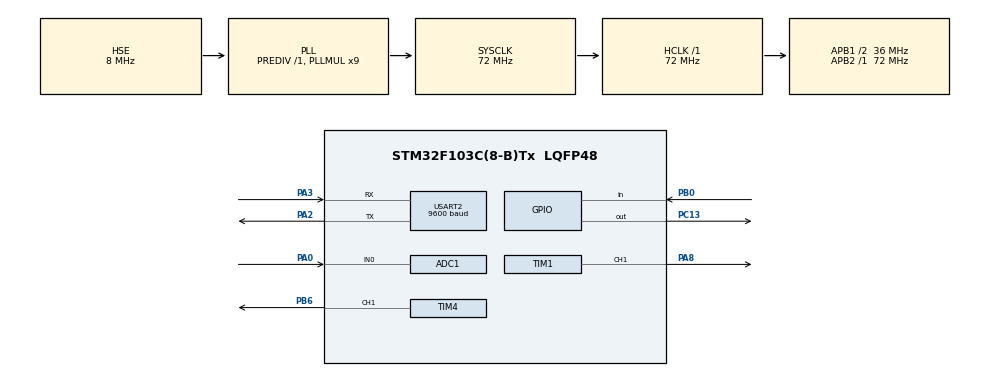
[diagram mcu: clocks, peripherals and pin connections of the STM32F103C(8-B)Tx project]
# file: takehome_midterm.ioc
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ADC1.Channel-0\#ChannelRegularConversion=ADC_CHANNEL_0
ADC1.ExternalTrigConv=ADC_EXTERNALTRIGCONV_T3_TRGO
ADC1.NbrOfConversionFlag=1
ADC1.Rank-0\#ChannelRegularConversion=1
ADC1.SamplingTime-0\#ChannelRegularConversion=ADC_SAMPLETIME_1CYCLE_5
ADC1.master=1
Dma.ADC1.0.Direction=DMA_PERIPH_TO_MEMORY
Dma.ADC1.0.Instance=DMA1_Channel1
Dma.ADC1.0.MemDataAlignment=DMA_MDATAALIGN_HALFWORD
Dma.ADC1.0.MemInc=DMA_MINC_ENABLE
Dma.ADC1.0.Mode=DMA_CIRCULAR
Dma.ADC1.0.PeriphDataAlignment=DMA_PDATAALIGN_HALFWORD
Dma.ADC1.0.PeriphInc=DMA_PINC_DISABLE
Dma.ADC1.0.Priority=DMA_PRIORITY_MEDIUM
Dma.Request0=ADC1
Mcu.Family=STM32F1
Mcu.Name=STM32F103C(8-B)Tx
Mcu.Package=LQFP48
NVIC.DMA1_Channel1_IRQn=true\:0\:0\:false\:false\:true\:false\:true\:true
NVIC.PriorityGroup=NVIC_PRIORITYGROUP_4
NVIC.TIM2_IRQn=true\:0\:0\:false\:false\:true\:true\:true\:true
NVIC.USART2_IRQn=true\:0\:0\:false\:false\:true\:true\:true\:true
PA0-WKUP.Signal=ADCx_IN0
PA13.Mode=Serial_Wire
PA13.Signal=SYS_JTMS-SWDIO
PA14.Mode=Serial_Wire
PA14.Signal=SYS_JTCK-SWCLK
PA2.Mode=Asynchronous
PA2.Signal=USART2_TX
PA3.Mode=Asynchronous
PA3.Signal=USART2_RX
PA8.Signal=S_TIM1_CH1
PB0.GPIO_Mode=GPIO_MODE_INPUT
PB0.GPIO_PuPd=GPIO_PULLUP
PB0.Signal=GPIO_Input
PB6.Signal=S_TIM4_CH1
PC13-TAMPER-RTC.GPIO_ModeDefaultOutputPP=GPIO_MODE_OUTPUT_PP
PC13-TAMPER-RTC.Signal=GPIO_Output
PD0-OSC_IN.Mode=HSE-External-Oscillator
PD0-OSC_IN.Signal=RCC_OSC_IN
PD1-OSC_OUT.Mode=HSE-External-Oscillator
PD1-OSC_OUT.Signal=RCC_OSC_OUT
ProjectManager.HeapSize=0x200
ProjectManager.StackSize=0x400
ProjectManager.TargetToolchain=STM32CubeIDE
RCC.ADCPresc=RCC_ADCPCLK2_DIV6
RCC.AHBFreq_Value=72000000
RCC.APB1CLKDivider=RCC_HCLK_DIV2
RCC.APB1Freq_Value=36000000
RCC.APB1TimFreq_Value=72000000
RCC.APB2Freq_Value=72000000
RCC.APB2TimFreq_Value=72000000
RCC.HCLKFreq_Value=72000000
RCC.PLLMUL=RCC_PLL_MUL9
RCC.PLLSourceVirtual=RCC_PLLSOURCE_HSE
RCC.SYSCLKFreq_VALUE=72000000
RCC.SYSCLKSource=RCC_SYSCLKSOURCE_PLLCLK
RCC.USBFreq_Value=72000000
SH.ADCx_IN0.0=ADC1_IN0,IN0
SH.S_TIM1_CH1.0=TIM1_CH1,PWM Generation1 CH1
SH.S_TIM4_CH1.0=TIM4_CH1,PWM Generation1 CH1
TIM1.AutoReloadPreload=TIM_AUTORELOAD_PRELOAD_ENABLE
TIM1.Channel-PWM\ Generation1\ CH1=TIM_CHANNEL_1
TIM1.Period=19999
TIM1.Prescaler=71
TIM1.Pulse-PWM\ Generation1\ CH1=1500
TIM2.AutoReloadPreload=TIM_AUTORELOAD_PRELOAD_ENABLE
TIM2.Period=499
TIM2.Prescaler=7199
TIM3.AutoReloadPreload=TIM_AUTORELOAD_PRELOAD_ENABLE
TIM3.Period=999
TIM3.Prescaler=71
TIM3.TIM_MasterOutputTrigger=TIM_TRGO_UPDATE
TIM4.AutoReloadPreload=TIM_AUTORELOAD_PRELOAD_ENABLE
TIM4.Channel-PWM\ Generation1\ CH1=TIM_CHANNEL_1
TIM4.Period=399
TIM4.Prescaler=71
USART2.BaudRate=9600
USART2.VirtualMode=VM_ASYNC
VP_TIM1_VS_ClockSourceINT.Mode=Internal
VP_TIM2_VS_ClockSourceINT.Mode=Internal
VP_TIM3_VS_ClockSourceINT.Mode=Internal
VP_TIM4_VS_ClockSourceINT.Mode=Internal
board=custom

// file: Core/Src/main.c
/* USER CODE BEGIN Header */
/**
  ******************************************************************************
  * @file           : main.c
  * @brief          : Main program body
  ******************************************************************************
  * @attention
  *
  * Copyright (c) 2026 STMicroelectronics.
  * All rights reserved.
  *
  * This software is licensed under terms that can be found in the LICENSE file
  * in the root directory of this software component.
  * If no LICENSE file comes with this software, it is provided AS-IS.
  *
  ******************************************************************************
  */
/* USER CODE END Header */
#include "main.h"
#include "adc.h"
#include "dma.h"
#include "tim.h"
#include "usart.h"
#include "gpio.h"

/* USER CODE BEGIN PV */
/* USER CODE BEGIN PV */

#define MA_N 12

/* ADC */
uint16_t adc_dma_value = 0;
uint16_t adc_raw = 0;
uint16_t adc_filtered = 0;

/* Moving average */
uint16_t ma_buffer[MA_N] = {0};
uint32_t ma_sum = 0;
uint8_t ma_index = 0;
uint8_t ma_count = 0;

/* Mode control */
uint8_t mode = 0;

GPIO_PinState last_button_state = GPIO_PIN_SET;
uint32_t last_button_time = 0;

uint32_t last_blink_time = 0;
GPIO_PinState pc13_state = GPIO_PIN_SET;

/* Actuators */
uint16_t servo_us = 1500;
uint16_t led_ccr = 0;

/* STM32 -> ESP32 uplink */
uint8_t uplink_packet[11];
uint8_t checksum_debug = 0;
uint8_t uart_tx_busy = 0;

/* ESP32 -> STM32 downlink */
uint8_t uart_rx_byte = 0;
uint8_t downlink_packet[6];

uint8_t rx_state = 0;
uint8_t rx_index = 0;
uint8_t test_downlink[6] =
{
    0xCC,
    0x33,
    2,
    0x08,
    0x00,
    0xFF
};

/* Last VALID ESP32 command */
uint16_t esp32_command_value = 2048;

/* Link monitoring */
uint32_t last_valid_rx_time = 0;
uint8_t link_ok = 0;
uint8_t received_valid_frame_once = 0;

/* Debug counters */
uint32_t valid_rx_count = 0;
uint32_t invalid_rx_count = 0;

/* USER CODE END PV */

void SystemClock_Config(void);

/* USER CODE BEGIN 0 */
/* USER CODE BEGIN 0 */

uint16_t MovingAverage_Update(uint16_t new_value)
{
    ma_sum -= ma_buffer[ma_index];

    ma_buffer[ma_index] = new_value;
    ma_sum += new_value;

    ma_index++;

    if (ma_index >= MA_N)
    {
        ma_index = 0;
    }

    if (ma_count < MA_N)
    {
        ma_count++;
    }

    return (uint16_t)(ma_sum / ma_count);
}

uint16_t ADC_To_LED_CCR(uint16_t adc)
{
    return (uint16_t)(((uint32_t)adc * 399) / 4095);
}

uint16_t ADC_To_Servo_US(uint16_t adc)
{
    return (uint16_t)(1000 + ((uint32_t)adc * 1000) / 4095);
}

void Check_Button(void)
{
    GPIO_PinState current_state =
        HAL_GPIO_ReadPin(GPIOB, GPIO_PIN_0);

    /*
     * Internal pull-up:
     * released = HIGH
     * pressed  = LOW
     */
    if ((last_button_state == GPIO_PIN_SET) &&
        (current_state == GPIO_PIN_RESET))
    {
        uint32_t now = HAL_GetTick();

        if ((now - last_button_time) >= 250)
        {
            mode++;

            if (mode > 2)
            {
                mode = 0;
            }

            last_button_time = now;

            /* Restart mode-indicator timing */
            last_blink_time = now;
            pc13_state = GPIO_PIN_SET;
        }
    }

    last_button_state = current_state;
}

void Update_Mode_LED(void)
{
    uint32_t now = HAL_GetTick();

    if (mode == 0)
    {
        /*
         * Blue Pill PC13 built-in LED
         * is normally active LOW.
         *
         * Mode 0 = solid ON.
         */
        HAL_GPIO_WritePin(
            GPIOC,
            GPIO_PIN_13,
            GPIO_PIN_RESET
        );
    }

    else if (mode == 1)
    {
        /*
         * 1 Hz blink:
         * complete period = 1000 ms
         * toggle every 500 ms
         */
        if ((now - last_blink_time) >= 500)
        {
            last_blink_time = now;

            pc13_state =
                (pc13_state == GPIO_PIN_SET)
                ? GPIO_PIN_RESET
                : GPIO_PIN_SET;

            HAL_GPIO_WritePin(
                GPIOC,
                GPIO_PIN_13,
                pc13_state
            );
        }
    }

    else
    {
        /*
         * Mode 2: 5 Hz
         * complete period = 200 ms
         * toggle every 100 ms
         */
        if ((now - last_blink_time) >= 100)
        {
            last_blink_time = now;

            pc13_state =
                (pc13_state == GPIO_PIN_SET)
                ? GPIO_PIN_RESET
                : GPIO_PIN_SET;

            HAL_GPIO_WritePin(
                GPIOC,
                GPIO_PIN_13,
                pc13_state
            );
        }
    }
}

uint8_t XOR_Checksum(
    uint8_t *data,
    uint8_t start,
    uint8_t end
)
{
    uint8_t chk = 0;

    for (uint8_t i = start; i <= end; i++)
    {
        chk ^= data[i];
    }

    return chk;
}

void Build_Uplink_Packet(void)
{
    /*
     * STM32 -> ESP32
     *
     * 0  = 0xAA
     * 1  = 0x55
     * 2  = mode
     * 3  = raw_H
     * 4  = raw_L
     * 5  = filt_H
     * 6  = filt_L
     * 7  = us_H
     * 8  = us_L
     * 9  = N
     * 10 = checksum
     */

    uplink_packet[0] = 0xAA;
    uplink_packet[1] = 0x55;

    uplink_packet[2] = mode;

    uplink_packet[3] =
        (uint8_t)((adc_raw >> 8) & 0xFF);

    uplink_packet[4] =
        (uint8_t)(adc_raw & 0xFF);

    uplink_packet[5] =
        (uint8_t)((adc_filtered >> 8) & 0xFF);

    uplink_packet[6] =
        (uint8_t)(adc_filtered & 0xFF);

    uplink_packet[7] =
        (uint8_t)((servo_us >> 8) & 0xFF);

    uplink_packet[8] =
        (uint8_t)(servo_us & 0xFF);

    uplink_packet[9] = MA_N;

    checksum_debug =
        XOR_Checksum(uplink_packet, 2, 9);

    uplink_packet[10] = checksum_debug;
}

void Process_Downlink_Packet(uint8_t *packet)
{
    /*
     * ESP32 -> STM32
     *
     * 0 = 0xCC
     * 1 = 0x33
     * 2 = mode
     * 3 = cmd_H
     * 4 = cmd_L
     * 5 = checksum
     */

    /* Check header first */
    if ((packet[0] != 0xCC) ||
        (packet[1] != 0x33))
    {
        invalid_rx_count++;
        return;
    }

    /* Check XOR checksum */
    uint8_t expected_checksum =
        packet[2] ^
        packet[3] ^
        packet[4];

    if (expected_checksum != packet[5])
    {
        invalid_rx_count++;
        return;
    }

    /* Mode must be valid */
    if (packet[2] > 2)
    {
        invalid_rx_count++;
        return;
    }

    uint16_t received_command =
        ((uint16_t)packet[3] << 8) |
        packet[4];

    /* Command uses ADC-style 12-bit range */
    if (received_command > 4095)
    {
        invalid_rx_count++;
        return;
    }

    /*
     * IMPORTANT:
     * Only update control values after
     * ALL validation passes.
     */
    mode = packet[2];

    esp32_command_value =
        received_command;

    last_valid_rx_time =
        HAL_GetTick();

    received_valid_frame_once = 1;
    link_ok = 1;

    valid_rx_count++;
}

void Update_Link_Status(void)
{
    if (received_valid_frame_once == 0)
    {
        link_ok = 0;
        return;
    }

    if ((HAL_GetTick() - last_valid_rx_time)
        <= 500)
    {
        link_ok = 1;
    }
    else
    {
        link_ok = 0;
    }
}

/* USER CODE END 0 */

int main(void)
{

  /* MCU Configuration--------------------------------------------------------*/

  /* Reset of all peripherals, Initializes the Flash interface and the Systick. */
  HAL_Init();

  /* Configure the system clock */
  SystemClock_Config();

  /* Initialize all configured peripherals */
  MX_GPIO_Init();
  MX_DMA_Init();
  MX_ADC1_Init();
  MX_TIM1_Init();
  MX_TIM2_Init();
  MX_TIM3_Init();
  MX_TIM4_Init();
  MX_USART2_UART_Init();
  /* USER CODE BEGIN 2 */
  /* USER CODE BEGIN 2 */

  /* ADC calibration required before conversion */
  HAL_ADCEx_Calibration_Start(&hadc1);

  /* Start servo PWM */
  HAL_TIM_PWM_Start(
      &htim1,
      TIM_CHANNEL_1
  );

  /* Start external LED PWM */
  HAL_TIM_PWM_Start(
      &htim4,
      TIM_CHANNEL_1
  );

  /* Start ADC in DMA circular mode */
  HAL_ADC_Start_DMA(
      &hadc1,
      (uint32_t *)&adc_dma_value,
      1
  );

  /*
   * Start TIM3.
   * TIM3 TRGO triggers ADC at 1000 Hz.
   */
  HAL_TIM_Base_Start(&htim3);

  /*
   * Start TIM2 at 20 Hz.
   * This is our main control scheduler.
   */
  HAL_TIM_Base_Start_IT(&htim2);

  /*
   * Start USART2 reception.
   * Receive one byte at a time.
   */
  HAL_UART_Receive_IT(
      &huart2,
      &uart_rx_byte,
      1
  );

  Process_Downlink_Packet(test_downlink);

  /* USER CODE END 2 */

  /* Infinite loop */
  /* USER CODE BEGIN WHILE */
  while (1)
  {
	  Check_Button();
	  Update_Mode_LED();
	  Update_Link_Status();
    /* USER CODE END WHILE */

  }
}

void SystemClock_Config(void)
{
  RCC_OscInitTypeDef RCC_OscInitStruct = {0};
  RCC_ClkInitTypeDef RCC_ClkInitStruct = {0};
  RCC_PeriphCLKInitTypeDef PeriphClkInit = {0};

  /** Initializes the RCC Oscillators according to the specified parameters
  * in the RCC_OscInitTypeDef structure.
  */
  RCC_OscInitStruct.OscillatorType = RCC_OSCILLATORTYPE_HSE;
  RCC_OscInitStruct.HSEState = RCC_HSE_ON;
  RCC_OscInitStruct.HSEPredivValue = RCC_HSE_PREDIV_DIV1;
  RCC_OscInitStruct.HSIState = RCC_HSI_ON;
  RCC_OscInitStruct.PLL.PLLState = RCC_PLL_ON;
  RCC_OscInitStruct.PLL.PLLSource = RCC_PLLSOURCE_HSE;
  RCC_OscInitStruct.PLL.PLLMUL = RCC_PLL_MUL9;
  if (HAL_RCC_OscConfig(&RCC_OscInitStruct) != HAL_OK)
  {
    Error_Handler();
  }

  /** Initializes the CPU, AHB and APB buses clocks
  */
  RCC_ClkInitStruct.ClockType = RCC_CLOCKTYPE_HCLK|RCC_CLOCKTYPE_SYSCLK
                              |RCC_CLOCKTYPE_PCLK1|RCC_CLOCKTYPE_PCLK2;
  RCC_ClkInitStruct.SYSCLKSource = RCC_SYSCLKSOURCE_PLLCLK;
  RCC_ClkInitStruct.AHBCLKDivider = RCC_SYSCLK_DIV1;
  RCC_ClkInitStruct.APB1CLKDivider = RCC_HCLK_DIV2;
  RCC_ClkInitStruct.APB2CLKDivider = RCC_HCLK_DIV1;

  if (HAL_RCC_ClockConfig(&RCC_ClkInitStruct, FLASH_LATENCY_2) != HAL_OK)
  {
    Error_Handler();
  }
  PeriphClkInit.PeriphClockSelection = RCC_PERIPHCLK_ADC;
  PeriphClkInit.AdcClockSelection = RCC_ADCPCLK2_DIV6;
  if (HAL_RCCEx_PeriphCLKConfig(&PeriphClkInit) != HAL_OK)
  {
    Error_Handler();
  }
}

/* USER CODE BEGIN 4 */
/* USER CODE BEGIN 4 */

void HAL_TIM_PeriodElapsedCallback(TIM_HandleTypeDef *htim)
{
    if (htim->Instance == TIM2)
    {
        adc_raw = adc_dma_value;

        adc_filtered = MovingAverage_Update(adc_raw);

        uint16_t servo_control = 0;
        uint16_t led_control = 0;

        if (mode == 0)
        {
            servo_control = adc_filtered;
            led_control = adc_filtered;
        }
        else if (mode == 1)
        {
            servo_control = adc_filtered;
            led_control = adc_raw;
        }
        else
        {
            servo_control = esp32_command_value;
            led_control = esp32_command_value;
        }

        servo_us = ADC_To_Servo_US(servo_control);
        led_ccr = ADC_To_LED_CCR(led_control);

        __HAL_TIM_SET_COMPARE(
            &htim1,
            TIM_CHANNEL_1,
            servo_us
        );

        __HAL_TIM_SET_COMPARE(
            &htim4,
            TIM_CHANNEL_1,
            led_ccr
        );

        if (uart_tx_busy == 0)
        {
            Build_Uplink_Packet();

            uart_tx_busy = 1;

            HAL_StatusTypeDef tx_status;

            tx_status = HAL_UART_Transmit_IT(
                &huart2,
                uplink_packet,
                11
            );

            if (tx_status != HAL_OK)
            {
                uart_tx_busy = 0;
            }
        }
    }
}

void HAL_UART_TxCpltCallback(UART_HandleTypeDef *huart)
{
    if (huart->Instance == USART2)
    {
        uart_tx_busy = 0;
    }
}

void HAL_UART_RxCpltCallback(UART_HandleTypeDef *huart)
{
    if (huart->Instance == USART2)
    {
        switch (rx_state)
        {
            case 0:

                if (uart_rx_byte == 0xCC)
                {
                    downlink_packet[0] = uart_rx_byte;
                    rx_state = 1;
                }

                break;

            case 1:

                if (uart_rx_byte == 0x33)
                {
                    downlink_packet[1] = uart_rx_byte;
                    rx_index = 2;
                    rx_state = 2;
                }
                else if (uart_rx_byte == 0xCC)
                {
                    downlink_packet[0] = 0xCC;
                    rx_state = 1;
                }
                else
                {
                    rx_state = 0;
                }

                break;

            case 2:

                downlink_packet[rx_index] = uart_rx_byte;
                rx_index++;

                if (rx_index >= 6)
                {
                    Process_Downlink_Packet(downlink_packet);

                    rx_index = 0;
                    rx_state = 0;
                }

                break;

            default:

                rx_index = 0;
                rx_state = 0;

                break;
        }

        HAL_UART_Receive_IT(
            &huart2,
            &uart_rx_byte,
            1
        );
    }
}

void HAL_UART_ErrorCallback(UART_HandleTypeDef *huart)
{
    if (huart->Instance == USART2)
    {
        rx_index = 0;
        rx_state = 0;

        HAL_UART_Receive_IT(
            &huart2,
            &uart_rx_byte,
            1
        );
    }
}

/* USER CODE END 4 */

void Error_Handler(void)
{
  __disable_irq();
  while (1)
  {
  }
}
